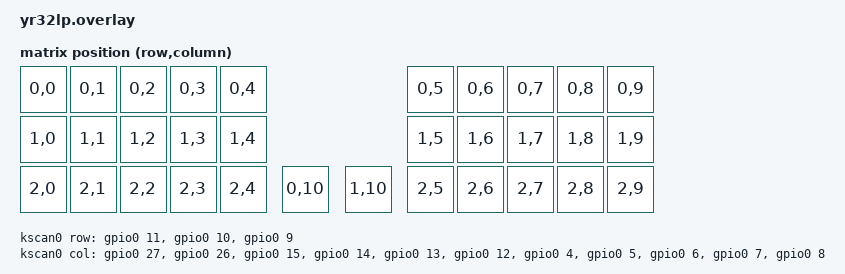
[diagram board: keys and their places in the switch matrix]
/*
 * yr32lp  (Waveshare RP2040-Zero / PIM447 trackball / WS2812 x30)
 * QMK版 (qmk用) の info.json / config.h / mcuconf.h と同じピン配置
 */

#include <dt-bindings/zmk/matrix_transform.h>
#include <dt-bindings/led/led.h>
#include <physical_layouts.dtsi>

/ {
    chosen {
        zmk,kscan = &kscan0;
        zmk,physical-layout = &yr32lp_layout;
        zmk,underglow = &ws2812;
    };

    /* QMK の LAYOUT() と同じ並び (左5+右5 / 左5+右5 / 左5+親指2+右5) */
    default_transform: keymap_transform_0 {
        compatible = "zmk,matrix-transform";
        columns = <11>;
        rows = <3>;
        map = <
RC(0,0) RC(0,1) RC(0,2) RC(0,3) RC(0,4)                   RC(0,5) RC(0,6) RC(0,7) RC(0,8) RC(0,9)
RC(1,0) RC(1,1) RC(1,2) RC(1,3) RC(1,4)                   RC(1,5) RC(1,6) RC(1,7) RC(1,8) RC(1,9)
RC(2,0) RC(2,1) RC(2,2) RC(2,3) RC(2,4) RC(0,10) RC(1,10) RC(2,5) RC(2,6) RC(2,7) RC(2,8) RC(2,9)
        >;
    };

    yr32lp_layout: yr32lp_layout {
        compatible = "zmk,physical-layout";
        display-name = "yr32lp";
        transform = <&default_transform>;
        keys
            = <&key_physical_attrs 100 100    0   0 0 0 0>
            , <&key_physical_attrs 100 100  100   0 0 0 0>
            , <&key_physical_attrs 100 100  200   0 0 0 0>
            , <&key_physical_attrs 100 100  300   0 0 0 0>
            , <&key_physical_attrs 100 100  400   0 0 0 0>
            , <&key_physical_attrs 100 100  775   0 0 0 0>
            , <&key_physical_attrs 100 100  875   0 0 0 0>
            , <&key_physical_attrs 100 100  975   0 0 0 0>
            , <&key_physical_attrs 100 100 1075   0 0 0 0>
            , <&key_physical_attrs 100 100 1175   0 0 0 0>
            , <&key_physical_attrs 100 100    0 100 0 0 0>
            , <&key_physical_attrs 100 100  100 100 0 0 0>
            , <&key_physical_attrs 100 100  200 100 0 0 0>
            , <&key_physical_attrs 100 100  300 100 0 0 0>
            , <&key_physical_attrs 100 100  400 100 0 0 0>
            , <&key_physical_attrs 100 100  775 100 0 0 0>
            , <&key_physical_attrs 100 100  875 100 0 0 0>
            , <&key_physical_attrs 100 100  975 100 0 0 0>
            , <&key_physical_attrs 100 100 1075 100 0 0 0>
            , <&key_physical_attrs 100 100 1175 100 0 0 0>
            , <&key_physical_attrs 100 100    0 200 0 0 0>
            , <&key_physical_attrs 100 100  100 200 0 0 0>
            , <&key_physical_attrs 100 100  200 200 0 0 0>
            , <&key_physical_attrs 100 100  300 200 0 0 0>
            , <&key_physical_attrs 100 100  400 200 0 0 0>
            , <&key_physical_attrs 100 100  525 200 0 0 0>
            , <&key_physical_attrs 100 100  650 200 0 0 0>
            , <&key_physical_attrs 100 100  775 200 0 0 0>
            , <&key_physical_attrs 100 100  875 200 0 0 0>
            , <&key_physical_attrs 100 100  975 200 0 0 0>
            , <&key_physical_attrs 100 100 1075 200 0 0 0>
            , <&key_physical_attrs 100 100 1175 200 0 0 0>
            ;
    };

    /* diode_direction = COL2ROW (QMK と同じ) */
    kscan0: kscan_0 {
        compatible = "zmk,kscan-gpio-matrix";
        diode-direction = "col2row";

        col-gpios
            = <&gpio0 27 GPIO_ACTIVE_HIGH>
            , <&gpio0 26 GPIO_ACTIVE_HIGH>
            , <&gpio0 15 GPIO_ACTIVE_HIGH>
            , <&gpio0 14 GPIO_ACTIVE_HIGH>
            , <&gpio0 13 GPIO_ACTIVE_HIGH>
            , <&gpio0 12 GPIO_ACTIVE_HIGH>
            , <&gpio0 4  GPIO_ACTIVE_HIGH>
            , <&gpio0 5  GPIO_ACTIVE_HIGH>
            , <&gpio0 6  GPIO_ACTIVE_HIGH>
            , <&gpio0 7  GPIO_ACTIVE_HIGH>
            , <&gpio0 8  GPIO_ACTIVE_HIGH>
            ;

        row-gpios
            = <&gpio0 11 (GPIO_ACTIVE_HIGH | GPIO_PULL_DOWN)>
            , <&gpio0 10 (GPIO_ACTIVE_HIGH | GPIO_PULL_DOWN)>
            , <&gpio0 9  (GPIO_ACTIVE_HIGH | GPIO_PULL_DOWN)>
            ;
    };

    /* トラックボール → マウスカーソル/左クリック */
    trackball_listener: trackball_listener {
        compatible = "zmk,input-listener";
        device = <&trackball>;
    };
};

/* ---- 列ピンと競合するボード標準の周辺機能を無効化 ----
 * spi0: GP3/GP4/GP6, adc: GP26/GP27, i2c0: GP24/GP25 */
&spi0 { status = "disabled"; };
&adc  { status = "disabled"; };
&i2c0 { status = "disabled"; };

/* ---- AZ1UBALL (PIM447 互換): I2C1  SDA=GP2 / SCL=GP3 (QMK: I2C1_SDA_PIN GP2 / I2C1_SCL_PIN GP3) ---- */
&i2c1_default {
    group1 {
        pinmux = <I2C1_SDA_P2>;
        input-enable;
    };
    group2 {
        pinmux = <I2C1_SCL_P3>;
        input-enable;
    };
};

&i2c1 {
    status = "okay";
    clock-frequency = <I2C_BITRATE_STANDARD>;

    trackball: trackball@a {
        compatible = "pimoroni,pim447";
        reg = <0x0a>;
        /* 速度: 1 カウントあたりの移動量 (linear なので回した量に比例)。
         * 遅いときは上げ、速すぎるときは下げる。横方向だけの速さは yr32lp.keymap の zip_x_scaler */
        scale = <12>;
        /* 2乗の加速はしない (加速は下の accel-* で行う) */
        linear;
        /* AZ1UBALL: 起動時にボールを通常モードにする。
         * ボール側の加速モード (az1uball-accel) は反対側センサーのノイズも3倍に数えて
         * カーソルが逆に動くことがあるので使わない */
        az1uball;
        /* 加速: 直近 12 回 (60ms) の移動量 (上下・左右を差し引いた後) で倍率を決める。
         * 1 カウント以下 = 100%、それより多いと 1 カウントごとに +100%、上限 300%。
         * 12 / 100 / 300 は AZ1UBALL の加速モードとほぼ同じ速さの曲線 (ノイズは1倍のまま)。
         * 中くらいの速さをもっと速くするなら window を 14〜16 に、
         * 速く転がしたときの伸びを強くするなら max を上げる / 加速しないなら window を 0 */
        accel-window-polls = <12>;
        accel-step-percent = <100>;
        accel-max-percent = <300>;
        /* 一方向に動いている最中の、逆向きのカウント (反対側センサーのノイズ) を捨てる。
         * 最後に動いてから 100ms 以内の逆向きは保留し、続けて 4 カウント来たら
         * 本当に向きを変えたとみなして保留分ごと通す。0 で無効 */
        reject-reverse-ms = <100>;
        reverse-counts = <4>;
        /* なめらか処理: 1 回分の移動を数回に分けて出す (1 = なし。大きいほどなめらかで、少し遅れる) */
        smoothing = <3>;
        /* QMK: POINTING_DEVICE_ROTATION_270 */
        rotation = <270>;
        /* 5ms ごとに読む。押し込みを離した直後に止める時間 = 4 回 x 5ms = 20ms */
        poll-interval-ms = <5>;
        debounce-polls = <4>;
    };
};

/* ---- WS2812 x30 : GP0 (PIO0)  ※RP2040-Zero 基板上の GP16 LED の代わりに使う ---- */
&ws2812_pio0_default {
    ws2812 {
        pinmux = <PIO0_P0>;
    };
};

&ws2812 {
    gpios = <&gpio0 0 GPIO_ACTIVE_HIGH>;
    chain-length = <30>;
};
